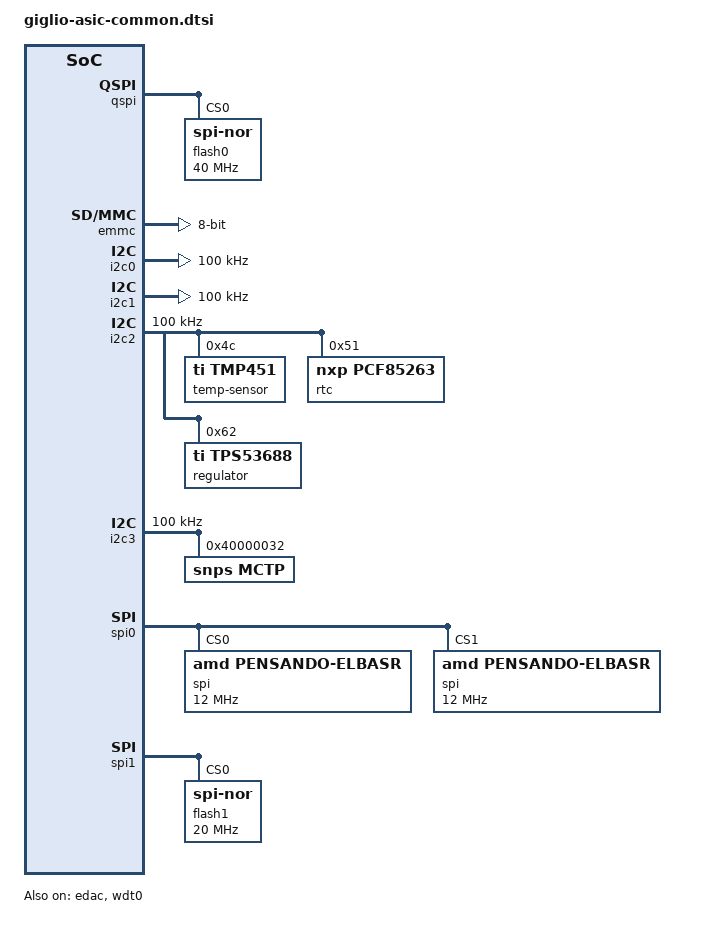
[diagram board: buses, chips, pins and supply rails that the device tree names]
// SPDX-License-Identifier: GPL-2.0

#include <dt-bindings/reset/amd,pensando-elba-reset.h>

&ahb_clk {
	clock-frequency = <400000000>;
};

&emmc_clk {
	clock-frequency = <200000000>;
};

&flash_clk {
	clock-frequency = <400000000>;
};

&ref_clk {
	clock-frequency = <156250000>;
};

&qspi {
	status = "okay";
	flash0: flash@0 {
		compatible = "jedec,spi-nor";
		reg = <0>;
		spi-max-frequency = <40000000>;
		spi-rx-bus-width = <2>;
		m25p,fast-read;
		cdns,read-delay = <0>;
		cdns,tshsl-ns = <0>;
		cdns,tsd2d-ns = <0>;
		cdns,tchsh-ns = <0>;
		cdns,tslch-ns = <0>;
	};
};

&gpio0 {
	status = "ok";
};

&gpio1 {
	status = "ok";
};

&emmc {
	bus-width = <8>;
	cap-mmc-hw-reset;
	reset-names = "hw";
	resets = <&rstc EMMC_HW_RESET>;
	status = "ok";
};

&edac {
	status = "okay";
};

&wdt0 {
	status = "okay";
};

&i2c0 {
	clock-frequency = <100000>;
	status = "okay";
};

&i2c1 {
	clock-frequency = <100000>;
	status = "okay";
};

&i2c2 {
	clock-frequency = <100000>;
	status = "okay";

	temp-sensor@4c {
		compatible = "ti,tmp451";
		reg = <0x4c>;
	};

	rtc@51 {
		compatible = "nxp,pcf85263";
		reg = <0x51>;
	};

	regulator@62 {
		compatible = "ti,tps53688";
		reg = <0x62>;
	};
};

&i2c3 {
	clock-frequency = <100000>;
	status = "okay";

	/* MCTP slave default 0x64 is 0x32 7-bit address */
	mctp@32 {
		compatible = "snps,mctp";
		reg = <0x40000032>;
	};
};

&spi0 {
	num-cs = <2>;
	status = "okay";
	spi@0 {
		compatible = "amd,pensando-elbasr", "simple-mfd";
		reg = <0>;
		#address-cells = <1>;
		#size-cells = <0>;
		spi-max-frequency = <12000000>;

		rstc: reset-controller@0 {
			compatible = "amd,pensando-elbasr-reset";
			reg = <0>;
			#reset-cells = <1>;
		};
	};

	spi@1 {
		compatible = "amd,pensando-elbasr", "simple-mfd";
		reg = <1>;
		spi-max-frequency = <12000000>;
	};
};

&spi1 {
	status = "okay";

	flash1: flash1@0 {
		compatible = "jedec,spi-nor";
		reg = <0>;
		spi-max-frequency = <20000000>;
		spi-rx-bus-width = <1>;
		m25p,fast-read;
		cdns,read-delay = <0>;
		cdns,tshsl-ns = <0>;
		cdns,tsd2d-ns = <0>;
		cdns,tchsh-ns = <0>;
		cdns,tslch-ns = <0>;
	};
};
